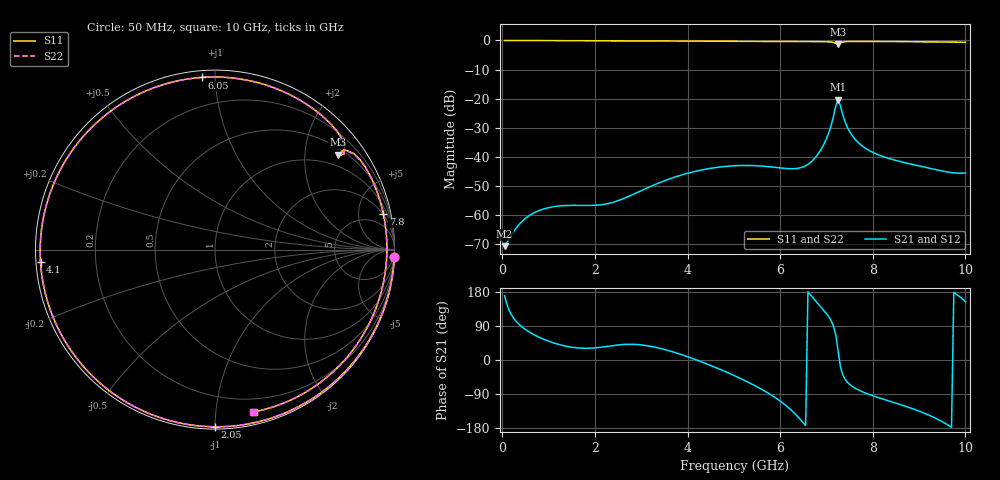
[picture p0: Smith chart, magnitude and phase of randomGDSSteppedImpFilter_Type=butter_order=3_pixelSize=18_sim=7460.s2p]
! freq	dB(S11)	phase(S11)	dB(S12)	phase(S12)
!  dB(S21)	phase(S21)	dB(S22)	phase(S22)
!S-par simulation data
#  GHz  S  DB  R 50
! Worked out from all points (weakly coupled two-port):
!   200 points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, 50 MHz to 10 GHz, reference 50 ohm
!   highest |S21| = -20.41 dB at 7.25 GHz (marker M1); lowest = -70.7 dB at 50 MHz (marker M2)
!   lowest |S11| = -1.3 dB at 7.25 GHz (marker M3), VSWR 13.73, Z = 33.3 + j139 ohm
!   |S11| at or under -10 dB: nowhere
!   |S22| runs from -1.3 to 0.0 dB; largest |S21 - S12| = 0
!   S11 on the Smith chart (normalised r, x): 50 MHz: 0, -50; 2.05 GHz: 0.01, -1.00; 4.1 GHz: 0.01, -0.04; 6.05 GHz: 0.04, +0.92; 7.8 GHz: 1.90, +9.25; 10 GHz: 0.10, -1.26
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0.05  -0.00 -2.3  -70.73 169.6  -70.73 169.6  -0.00 -2.3
0.35  -0.02 -15.8  -63.51 95.5  -63.51 95.5  -0.01 -15.8
0.7  -0.04 -31.5  -59.14 65.7  -59.14 65.7  -0.04 -31.5
1.25  -0.07 -55.6  -56.88 40.0  -56.88 40.0  -0.07 -55.6
1.75  -0.10 -77.2  -56.73 31.0  -56.73 31.0  -0.10 -77.2
2.05  -0.11 -89.9  -56.62 32.5  -56.62 32.5  -0.11 -89.9
2.7  -0.14 -117.1  -53.82 41.5  -53.82 41.5  -0.14 -117.1
3.4  -0.18 -146.2  -48.87 31.0  -48.87 31.0  -0.18 -146.2
4.1  -0.22 -175.8  -45.26 4.4  -45.26 4.4  -0.22 -175.9
4.55  -0.25 164.6  -43.83 -16.9  -43.83 -16.9  -0.25 164.5
5.05  -0.28 142.0  -43.05 -43.5  -43.05 -43.5  -0.28 141.9
5.6  -0.31 116.2  -43.18 -77.4  -43.18 -77.4  -0.31 116.1
6.05  -0.33 94.5  -43.91 -113.0  -43.91 -113.0  -0.34 94.3
6.45  -0.35 74.8  -43.72 -158.8  -43.72 -158.8  -0.35 74.6
6.7  -0.37 62.4  -41.30 165.3  -41.30 165.3  -0.37 62.2
7  -0.43 47.2  -33.76 122.3  -33.76 122.3  -0.43 46.9
7.25  -1.27 37.8  -20.41 24.0  -20.41 24.0  -1.27 37.5
7.5  -0.38 26.3  -31.36 -64.4  -31.36 -64.4  -0.38 26.0
7.8  -0.37 11.8  -36.62 -85.2  -36.62 -85.2  -0.37 11.6
8.35  -0.39 -12.4  -40.59 -108.1  -40.59 -108.1  -0.39 -12.7
9.2  -0.48 -46.6  -43.85 -144.9  -43.85 -144.9  -0.48 -46.8
10  -0.63 -76.5  -45.54 154.5  -45.54 154.5  -0.64 -76.8
